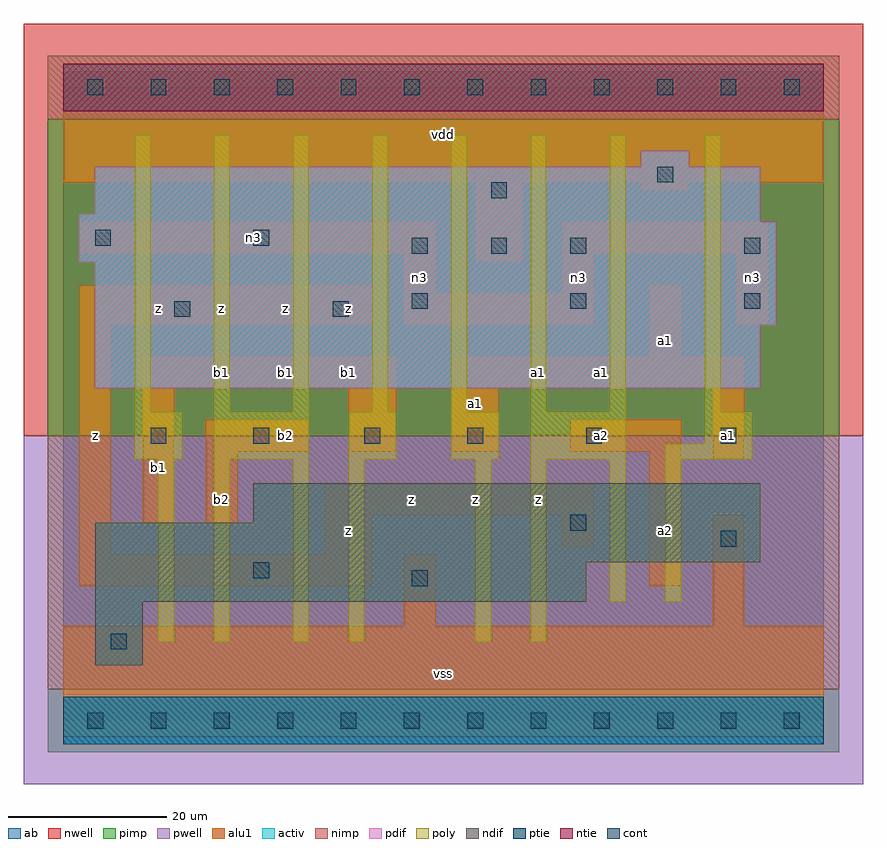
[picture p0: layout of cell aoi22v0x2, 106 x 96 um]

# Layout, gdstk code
import gdstk
lib = gdstk.Library(unit=1e-6, precision=1e-09)
def R(c, l, rs):  # rectangles x0, y0, x1, y1
    for r in rs: c.add(gdstk.rectangle(r[:2], r[2:], *l))
def A(c, l, x, y, w, h, nx, ny, dx, dy):  # array of equal rectangles
    R(c, l, [(x+i*dx, y+j*dy, x+i*dx+w, y+j*dy+h) for i in range(nx) for j in range(ny)])
ndif = (3, 0)
pdif = (4, 0)
ntie = (5, 0)
ptie = (6, 0)
cont = (25, 0)
pwell = (41, 0)
nwell = (42, 0)
activ = (43, 0)
pimp = (44, 0)
nimp = (45, 0)
poly = (46, 0)
alu1 = (49, 0)
ab = (63, 0)

aoi22v0x2 = lib.new_cell('aoi22v0x2')
R(aoi22v0x2, ndif, [(4,7,10,15), (4,15,66,20), (4,20,88,25), (24,25,88,30)])
R(aoi22v0x2, pdif, [(4,42,88,50), (4,50,90,58), (2,58,90,63), (2,63,88,64), (4,64,88,70), (73,70,79,72)])
R(aoi22v0x2, ntie, [(0,77,96,83)])
R(aoi22v0x2, ptie, [(0,-3,96,3)])
A(aoi22v0x2, cont, 3, -1, 2, 2, 12, 2, 8, 80)
A(aoi22v0x2, cont, 44, 59, 2, 2, 3, 1, 10, 0)
R(aoi22v0x2, cont, [(6,9,8,11), (44,17,46,19), (24,18,26,20), (83,22,85,24), (64,24,66,26), (11,35,13,37), (24,35,26,37), (38,35,40,37), (51,35,53,37), (66,35,68,37), (83,35,85,37), (14,51,16,53), (34,51,36,53), (44,52,46,54), (64,52,66,54), (86,52,88,54), (86,59,88,61), (4,60,6,62), (24,60,26,62), (54,66,56,68), (75,68,77,70)])
R(aoi22v0x2, pwell, [(-5,-8,101,36)])
R(aoi22v0x2, nwell, [(-5,36,101,88)])
R(aoi22v0x2, activ, [(0,-3,96,3), (4,7,10,15), (4,15,66,20), (4,20,88,25), (24,25,88,30), (4,42,88,50), (4,50,90,58), (2,58,90,63), (2,63,88,64), (4,64,88,70), (73,70,79,72), (0,77,96,83)])
R(aoi22v0x2, pimp, [(-2,-4,98,4), (-2,36,98,76)])
R(aoi22v0x2, nimp, [(-2,4,98,36), (-2,76,98,84)])
A(aoi22v0x2, poly, 9, 39, 2, 35, 7, 1, 10, 0)
R(aoi22v0x2, poly, [(12,10,14,33), (19,10,21,33), (29,10,31,33), (36,10,38,33), (52,10,54,33), (59,10,61,33), (69,15,71,33), (76,15,78,33), (9,33,15,39), (19,33,31,39), (36,33,42,39), (49,33,55,39), (59,33,71,39), (76,33,87,35), (81,35,87,39), (81,39,83,74)])
R(aoi22v0x2, alu1, [(0,-2,96,12), (43,12,47,21), (82,12,86,26), (2,17,39,21), (74,17,78,34), (2,21,6,50), (33,21,39,26), (63,22,67,26), (10,25,14,42), (18,25,22,34), (33,26,67,30), (82,33,86,42), (18,34,31,38), (36,34,42,42), (49,34,55,42), (64,34,78,38), (10,42,42,46), (49,42,86,46), (74,46,78,55), (2,50,39,55), (43,50,67,54), (85,50,89,59), (43,54,47,59), (63,54,67,59), (52,58,58,68), (2,59,47,63), (63,59,89,63), (73,67,79,68), (0,68,96,82)])
R(aoi22v0x2, ab, [(0,0,96,80)])
aoi22v0x2.add(gdstk.Label('n3', (45,56), layer=49, texttype=0))
aoi22v0x2.add(gdstk.Label('n3', (24,61), layer=49, texttype=0))
aoi22v0x2.add(gdstk.Label('n3', (65,56), layer=49, texttype=0))
aoi22v0x2.add(gdstk.Label('n3', (87,56), layer=49, texttype=0))
aoi22v0x2.add(gdstk.Label('b1', (12,32), layer=49, texttype=0))
aoi22v0x2.add(gdstk.Label('z', (4,36), layer=49, texttype=0))
aoi22v0x2.add(gdstk.Label('z', (12,52), layer=49, texttype=0))
aoi22v0x2.add(gdstk.Label('b2', (20,28), layer=49, texttype=0))
aoi22v0x2.add(gdstk.Label('b1', (20,44), layer=49, texttype=0))
aoi22v0x2.add(gdstk.Label('b2', (28,36), layer=49, texttype=0))
aoi22v0x2.add(gdstk.Label('b1', (28,44), layer=49, texttype=0))
aoi22v0x2.add(gdstk.Label('z', (28,52), layer=49, texttype=0))
aoi22v0x2.add(gdstk.Label('z', (20,52), layer=49, texttype=0))
aoi22v0x2.add(gdstk.Label('vss', (48,6), layer=49, texttype=0))
aoi22v0x2.add(gdstk.Label('z', (36,24), layer=49, texttype=0))
aoi22v0x2.add(gdstk.Label('z', (44,28), layer=49, texttype=0))
aoi22v0x2.add(gdstk.Label('z', (52,28), layer=49, texttype=0))
aoi22v0x2.add(gdstk.Label('b1', (36,44), layer=49, texttype=0))
aoi22v0x2.add(gdstk.Label('a1', (52,40), layer=49, texttype=0))
aoi22v0x2.add(gdstk.Label('z', (36,52), layer=49, texttype=0))
aoi22v0x2.add(gdstk.Label('vdd', (48,74), layer=49, texttype=0))
aoi22v0x2.add(gdstk.Label('z', (60,28), layer=49, texttype=0))
aoi22v0x2.add(gdstk.Label('a2', (76,24), layer=49, texttype=0))
aoi22v0x2.add(gdstk.Label('a1', (60,44), layer=49, texttype=0))
aoi22v0x2.add(gdstk.Label('a2', (68,36), layer=49, texttype=0))
aoi22v0x2.add(gdstk.Label('a1', (68,44), layer=49, texttype=0))
aoi22v0x2.add(gdstk.Label('a1', (76,48), layer=49, texttype=0))
aoi22v0x2.add(gdstk.Label('a1', (84,36), layer=49, texttype=0))

lib.write_gds('aoi22v0x2.gds')
